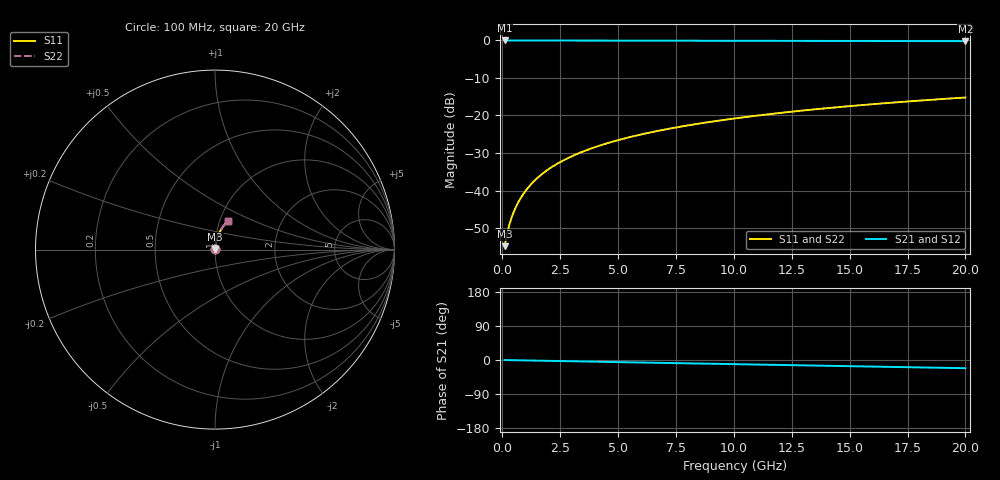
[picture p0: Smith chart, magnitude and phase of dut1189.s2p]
! Touchstone file exported from HFSS 2026.1.0
!  File:  C:/ffzhzh/LocalFiles/Ansys_Project_Files/temp_train_TMRDL_1189_1783162786_55132.aedt
!  Generated:  07:00:56 PM Jul  4, 2026
!  Design:  TMRDL
!  Project:  temp_train_TMRDL_1189_1783162786_55132
! Variables:
!  h_bsmrdl = 2um
!  h_ox = 20um
!  h_rdl = 5um
!  h_sub = 80um
!  h_tmrdl = 4.2um
!  h_tsv = 80um
!  h_via = 3um
!  l_bsmrdl = 300um
!  l_sub = 717.62um
!  l_tmrdl = 317.62um
!  m_sub = 200um
!  pitch = 38.41um
!  r_tsv = 6um
!  s_tmrdl = 10um
!  w_bsmrdl = 18um
!  w_sub = 500um
!  w_tmrdl = 21.1um
!  x_tsv_center1 = 328.17um
!  x_tsv_center2 = 646.17um
!  x_tsv_center3 = 984.89um
!  x_tsv_center4 = 1302.89um
!  x_tsv_center5 = 1641.61um
!  x_tsv_center6 = 1959.61um
# GHz S MA R 50.000000
! Terminal data exported
! Port[1] = TM_RDL1_1_T1
! Port[2] = TM_RDL1_1_T2
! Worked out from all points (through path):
!   200 points, 100 MHz to 20 GHz, reference 50 ohm
!   highest |S21| = -0.01 dB at 100 MHz (marker M1); lowest = -0.2 dB at 20 GHz (marker M2)
!   group delay of S21, straight-line fit = 3 ps
!   lowest |S11| = -54.8 dB at 100 MHz (marker M3), VSWR 1.00, Z = 50.1 + j0.109 ohm
!   |S11| at or under -10 dB: start of sweep to end of sweep
!   |S22| runs from -54.8 to -15.2 dB; largest |S21 - S12| = 2.2e-15
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0.1  0.001818 36.7  0.9985 -0.1  0.9985 -0.1  0.001818 36.7
! Gamma 0 0 0 0
! Port Impedance 50 0 50 0
0.2  0.002612 53.3  0.9984 -0.2  0.9984 -0.2  0.002611 53.3
0.3  0.003468 61.7  0.9984 -0.4  0.9984 -0.4  0.003467 61.7
0.4  0.004346 66.8  0.9983 -0.5  0.9983 -0.5  0.004344 66.8
0.5  0.00524 70.3  0.9982 -0.6  0.9982 -0.6  0.005239 70.3
0.6  0.006149 72.8  0.9982 -0.7  0.9982 -0.7  0.006148 72.8
0.8  0.007994 76.1  0.9981 -0.9  0.9981 -0.9  0.007994 76.1
1.1  0.0108 78.8  0.998 -1.2  0.998 -1.2  0.0108 78.8
1.3  0.01268 79.9  0.998 -1.5  0.998 -1.5  0.01268 79.9
1.6  0.01551 80.8  0.9978 -1.8  0.9978 -1.8  0.01551 80.8
2.1  0.02021 81.5  0.9976 -2.4  0.9976 -2.4  0.02022 81.5
2.7  0.02583 81.7  0.9973 -3.0  0.9973 -3.0  0.02583 81.7
3.5  0.03325 81.5  0.9968 -3.9  0.9968 -3.9  0.03325 81.5
4.2  0.03968 81.1  0.9963 -4.7  0.9963 -4.7  0.03968 81.1
5  0.04696 80.4  0.9956 -5.6  0.9956 -5.6  0.04696 80.4
5.9  0.05506 79.7  0.9949 -6.6  0.9949 -6.6  0.05506 79.7
6.8  0.06309 78.9  0.994 -7.5  0.994 -7.5  0.06309 78.9
8.3  0.0763 77.5  0.9926 -9.2  0.9926 -9.2  0.0763 77.5
10.1  0.09192 75.8  0.9907 -11.1  0.9907 -11.1  0.09192 75.8
13.4  0.12 72.6  0.9869 -14.6  0.9869 -14.6  0.12 72.6
16.7  0.1472 69.3  0.9826 -18.1  0.9826 -18.1  0.1472 69.3
20  0.1736 66.1  0.9777 -21.6  0.9777 -21.6  0.1736 66.1
